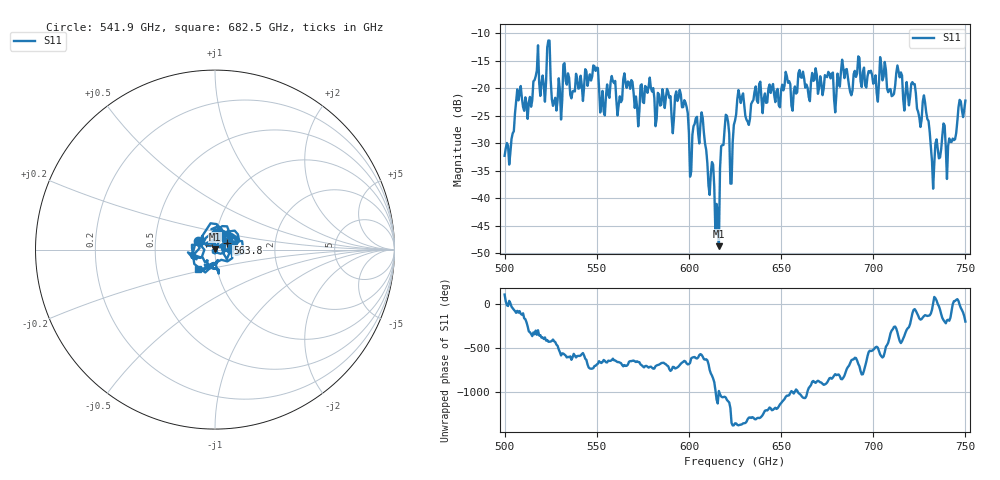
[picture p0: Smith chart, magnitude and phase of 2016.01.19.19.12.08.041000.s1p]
!Created with skrf (http://scikit-rf.org).
# GHz S RI R 50.0
!freq ReS11 ImS11
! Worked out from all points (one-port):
!   401 points, 500 GHz to 750 GHz, reference 50 ohm
!   lowest |S11| = -48.7 dB at 616.2 GHz (marker M1), VSWR 1.01, Z = 50 + j0.367 ohm
!   |S11| at or under -10 dB: start of sweep to end of sweep
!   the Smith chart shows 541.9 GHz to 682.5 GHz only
!   S11 on the Smith chart (normalised r, x): 541.9 GHz: 0.82, +0.08; 563.8 GHz: 1.14, +0.09; 682.5 GHz: 0.81, -0.18
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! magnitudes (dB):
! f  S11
! 500 GHz  -32.3
! 516.9 GHz  -17.8
! 531.2 GHz  -22.2
! 541.9 GHz  -19.5
! 549.4 GHz  -16.9
! 553.1 GHz  -20.5
! 558.8 GHz  -18.8
! 562.5 GHz  -21.5
! 563.8 GHz  -22.1
! 593.8 GHz  -22.3
! 601.2 GHz  -35.1
! 607.5 GHz  -25.4
! 615 GHz  -41.0
! 616.2 GHz  -48.7
! 619.4 GHz  -27.4
! 623.1 GHz  -37.3
! 625 GHz  -25.9
! 628.1 GHz  -22.7
! 631.9 GHz  -26.1
! 637.5 GHz  -22.7
! 656.2 GHz  -24.1
! 682.5 GHz  -17.0
! 687.5 GHz  -20.7
! 705 GHz  -18.6
! 718.8 GHz  -21.1
! 728.1 GHz  -22.6
! 732.5 GHz  -38.2
! 750 GHz  -22.3
